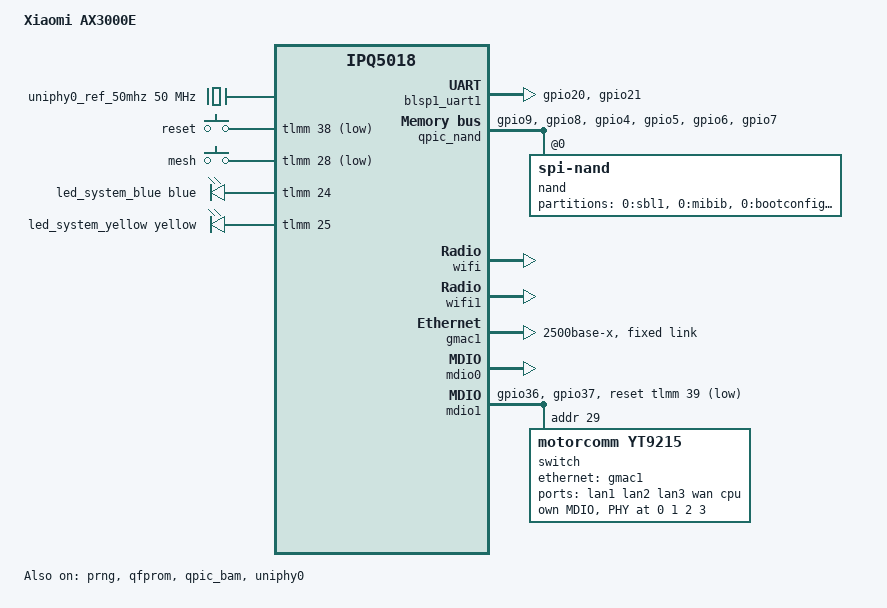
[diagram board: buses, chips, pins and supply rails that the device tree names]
// SPDX-License-Identifier: GPL-2.0-or-later OR MIT

/dts-v1/;

#include "ipq5018.dtsi"
#include "ipq5018-ess.dtsi"
#include "ipq5018-qcn6122.dtsi"

#include <dt-bindings/gpio/gpio.h>
#include <dt-bindings/input/input.h>
#include <dt-bindings/leds/common.h>

/ {
	model = "Xiaomi AX3000E";
	compatible = "xiaomi,ax3000e", "qcom,ipq5018";

	aliases {
		led-boot = &led_system_blue;
		led-failsafe = &led_system_yellow;
		led-running = &led_system_blue;
		led-upgrade = &led_system_yellow;
		serial0 = &blsp1_uart1;
	};

	/*
	 * The 50 MHz UNIPHY reference normally comes from the CMN PLL block.
	 * On this board the CMN PLL registers are protected by the vendor
	 * TrustZone firmware: any access from Linux resets the SoC. The
	 * bootloader has already configured the PLL, so describe its output
	 * as a fixed clock and keep the cmn_pll node disabled (see below).
	 */
	uniphy0_ref_50mhz: uniphy0-ref-50mhz {
		compatible = "fixed-clock";
		#clock-cells = <0>;
		clock-frequency = <50000000>;
		clock-output-names = "uniphy0_ref_50mhz";
	};

	chosen {
		bootargs-append = " ubi.mtd=rootfs root=/dev/ubiblock0_1 coherent_pool=2M";
		stdout-path = "serial0:115200n8";
	};

	keys {
		compatible = "gpio-keys";
		pinctrl-0 = <&button_pins>;
		pinctrl-names = "default";

		reset-button {
			label = "reset";
			gpios = <&tlmm 38 GPIO_ACTIVE_LOW>;
			linux,code = <KEY_RESTART>;
		};

		mesh-button {
			label = "mesh";
			gpios = <&tlmm 28 GPIO_ACTIVE_LOW>;
			linux,code = <KEY_WPS_BUTTON>;
		};
	};

	leds {
		compatible = "gpio-leds";
		pinctrl-0 = <&leds_pins>;
		pinctrl-names = "default";

		led_system_blue: system-blue {
			color = <LED_COLOR_ID_BLUE>;
			function = LED_FUNCTION_POWER;
			gpios = <&tlmm 24 GPIO_ACTIVE_HIGH>;
		};

		led_system_yellow: system-yellow {
			color = <LED_COLOR_ID_YELLOW>;
			function = LED_FUNCTION_POWER;
			gpios = <&tlmm 25 GPIO_ACTIVE_HIGH>;
		};
	};
};

&sleep_clk {
	clock-frequency = <32000>;
};

&xo_board_clk {
	clock-div = <4>;
	clock-mult = <1>;
};

&blsp1_uart1 {
	pinctrl-0 = <&serial_0_pins>;
	pinctrl-names = "default";
	status = "okay";
};

&prng {
	status = "okay";
};

&qfprom {
	status = "okay";
};

&qpic_bam {
	status = "okay";
};

&qpic_nand {
	pinctrl-0 = <&qpic_pins>;
	pinctrl-names = "default";
	status = "okay";

	nand@0 {
		compatible = "spi-nand";
		reg = <0>;
		nand-ecc-engine = <&qpic_nand>;
		nand-bus-width = <8>;

		partitions {
			compatible = "fixed-partitions";
			#address-cells = <1>;
			#size-cells = <1>;

			partition@0 {
				label = "0:sbl1";
				reg = <0x00000000 0x80000>;
				read-only;
			};

			partition@80000 {
				label = "0:mibib";
				reg = <0x00080000 0x80000>;
				read-only;
			};

			partition@100000 {
				label = "0:bootconfig";
				reg = <0x00100000 0x40000>;
				read-only;
			};

			partition@140000 {
				label = "0:bootconfig1";
				reg = <0x00140000 0x40000>;
				read-only;
			};

			partition@180000 {
				label = "0:qsee";
				reg = <0x00180000 0x100000>;
				read-only;
			};

			partition@280000 {
				label = "0:qsee_1";
				reg = <0x00280000 0x100000>;
				read-only;
			};

			partition@380000 {
				label = "0:devcfg";
				reg = <0x00380000 0x40000>;
				read-only;
			};

			partition@3c0000 {
				label = "0:devcfg_1";
				reg = <0x003c0000 0x40000>;
				read-only;
			};

			partition@400000 {
				label = "0:cdt";
				reg = <0x00400000 0x40000>;
				read-only;
			};

			partition@440000 {
				label = "0:cdt_1";
				reg = <0x00440000 0x40000>;
				read-only;
			};

			partition@480000 {
				label = "0:appsblenv";
				reg = <0x00480000 0x80000>;

				nvmem-layout {
					compatible = "u-boot,env";
					env-size = <0x10000>;
				};
			};

			partition@500000 {
				label = "0:appsbl";
				reg = <0x00500000 0x100000>;
				read-only;
			};

			partition@600000 {
				label = "0:appsbl_1";
				reg = <0x00600000 0x100000>;
				read-only;
			};

			partition@700000 {
				label = "0:art";
				reg = <0x00700000 0x100000>;
				read-only;

				nvmem-layout {
					compatible = "fixed-layout";
					#address-cells = <1>;
					#size-cells = <1>;

					mac_addr_gmac1: macaddr@0 {
						reg = <0x0 0x6>;
					};

					mac_addr_gmac0: macaddr@6 {
						reg = <0x6 0x6>;
					};
				};
			};

			partition@800000 {
				label = "0:training";
				reg = <0x00800000 0x80000>;
				read-only;
			};

			partition@880000 {
				label = "bdata";
				reg = <0x00880000 0x80000>;
			};

			partition@900000 {
				label = "crash";
				reg = <0x00900000 0x80000>;
			};

			/*
			 * The vendor bootloader (bootmiwifi) implements A/B booting
			 * between "rootfs" and "rootfs_1" via U-Boot environment
			 * flags; see the bootcount init script.
			 */
			partition@980000 {
				label = "rootfs";
				reg = <0x00980000 0x1900000>;
			};

			partition@2280000 {
				label = "rootfs_1";
				reg = <0x02280000 0x1900000>;
			};

			partition@3b80000 {
				label = "overlay";
				reg = <0x03b80000 0x480000>;
			};
		};
	};
};

&tlmm {
	mdio1_pins: mdio-state {
		mdc-pins {
			pins = "gpio36";
			function = "mdc";
			drive-strength = <8>;
			bias-pull-up;
		};

		mdio-pins {
			pins = "gpio37";
			function = "mdio";
			drive-strength = <8>;
			bias-pull-up;
		};
	};

	button_pins: button-state {
		pins = "gpio28", "gpio38";
		function = "gpio";
		drive-strength = <8>;
		bias-pull-up;
	};

	leds_pins: leds-state {
		pins = "gpio24", "gpio25";
		function = "gpio";
		drive-strength = <8>;
		bias-pull-down;
	};

	qpic_pins: qpic-state {
		clock-pins {
			pins = "gpio9";
			function = "qspi_clk";
			drive-strength = <8>;
			bias-disable;
		};

		cs-pins {
			pins = "gpio8";
			function = "qspi_cs";
			drive-strength = <8>;
			bias-disable;
		};

		data-pins {
			pins = "gpio4", "gpio5", "gpio6", "gpio7";
			function = "qspi_data";
			drive-strength = <8>;
			bias-disable;
		};
	};

	serial_0_pins: uart0-state {
		pins = "gpio20", "gpio21";
		function = "blsp0_uart0";
		bias-disable;
	};
};

&q6v5_wcss {
	firmware-name = "ath11k/IPQ5018/hw1.0/q6_fw.mdt",
			"ath11k/IPQ5018/hw1.0/m3_fw.mdt",
			"ath11k/QCN6122/hw1.0/m3_fw.mdt";
};

/* Internal IPQ5018 2.4 GHz radio */
&wifi {
	qcom,rproc = <&q6_wcss_pd1>;
	qcom,ath11k-calibration-variant = "Xiaomi-AX3000E";
	qcom,ath11k-fw-memory-mode = <2>;
	qcom,bdf-addr = <0x4c400000>;
	status = "okay";
};

/* QCN6122 5 GHz radio on user PD 2 */
&wifi1 {
	qcom,rproc = <&q6_wcss_pd2>;
	qcom,userpd-subsys-name = "q6v5_wcss_userpd2";
	qcom,ath11k-calibration-variant = "Xiaomi-AX3000E";
	qcom,ath11k-fw-memory-mode = <2>;
	qcom,bdf-addr = <0x4d100000>;
	qcom,m3-dump-addr = <0x4df00000>;
	status = "okay";
};

/*
 * All four RJ45 ports (three LAN, one WAN) hang off a Motorcomm YT9215S
 * switch connected to GMAC1 over 2500BASE-X. The internal GEPHY on GMAC0
 * is unused.
 */
&gmac1 {
	phy-mode = "2500base-x";
	nvmem-cells = <&mac_addr_gmac1 0>;
	nvmem-cell-names = "mac-address";
	status = "okay";

	fixed-link {
		speed = <2500>;
		full-duplex;
	};
};

/*
 * MDIO0 (internal GEPHY bus) is not used on this board, but its AHB clock
 * must stay enabled: with GCC_MDIO0_AHB_CLK gated, the MDIO1 controller
 * below stops responding (every switch register reads back as zero).
 * Keeping the controller enabled makes its driver hold the clock, which is
 * also what the vendor firmware does.
 */
&mdio0 {
	status = "okay";
};

&mdio1 {
	pinctrl-0 = <&mdio1_pins>;
	pinctrl-names = "default";
	reset-gpios = <&tlmm 39 GPIO_ACTIVE_LOW>;
	reset-delay-us = <100000>;
	reset-post-delay-us = <100000>;
	status = "okay";

	switch@1d {
		compatible = "motorcomm,yt9215";
		reg = <0x1d>;

		mdio {
			#address-cells = <1>;
			#size-cells = <0>;

			yt9215_phy0: ethernet-phy@0 {
				reg = <0>;
			};

			yt9215_phy1: ethernet-phy@1 {
				reg = <1>;
			};

			yt9215_phy2: ethernet-phy@2 {
				reg = <2>;
			};

			yt9215_phy3: ethernet-phy@3 {
				reg = <3>;
			};
		};

		ports {
			#address-cells = <1>;
			#size-cells = <0>;

			port@0 {
				reg = <0>;
				label = "lan1";
				phy-mode = "internal";
				phy-handle = <&yt9215_phy0>;
			};

			port@1 {
				reg = <1>;
				label = "lan2";
				phy-mode = "internal";
				phy-handle = <&yt9215_phy1>;
			};

			port@2 {
				reg = <2>;
				label = "lan3";
				phy-mode = "internal";
				phy-handle = <&yt9215_phy2>;
			};

			port@3 {
				reg = <3>;
				label = "wan";
				phy-mode = "internal";
				phy-handle = <&yt9215_phy3>;
			};

			port@8 {
				reg = <8>;
				label = "cpu";
				ethernet = <&gmac1>;
				phy-mode = "2500base-x";

				fixed-link {
					speed = <2500>;
					full-duplex;
				};
			};
		};
	};
};

&uniphy0 {
	clocks = <&gcc GCC_UNIPHY_AHB_CLK>,
		 <&gcc GCC_UNIPHY_SYS_CLK>,
		 <&gcc GCC_UNIPHY_RX_CLK>,
		 <&gcc GCC_UNIPHY_TX_CLK>,
		 <&uniphy0_ref_50mhz>;
	status = "okay";
};

/* TrustZone-owned on this board, see uniphy0_ref_50mhz above. */
&cmn_pll {
	status = "disabled";
};

/* Region used by the vendor TrustZone applications; keep the kernel out. */
&{/reserved-memory} {
	tz_apps@4a400000 {
		no-map;
		reg = <0x0 0x4a400000 0x0 0x700000>;
	};
};
